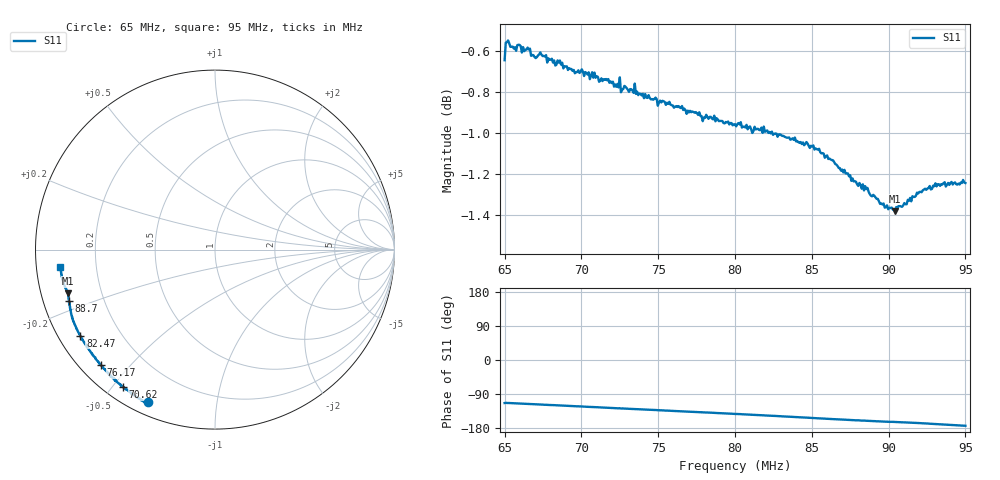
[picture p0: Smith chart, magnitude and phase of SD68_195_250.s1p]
! NanoVNA-App
! Date: 2025-08-09 16:35:09
! Start: 65MHz Stop: 95MHz Points: 401
! S-Parameter data: F S11
# Hz S RI R 50
!  Frequency  S11_Real  S11_Imag
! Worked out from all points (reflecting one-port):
!   401 points, 65 MHz to 95 MHz, reference 50 ohm
!   lowest |S11| = -1.4 dB at 90.42 MHz (marker M1), VSWR 12.63, Z = 4.04 - j7.23 ohm
!   phase of S11 starts at -114 deg and turns -60 deg over the sweep
!   S11 on the Smith chart (normalised r, x): 65 MHz: 0.05, -0.65; 70.62 MHz: 0.05, -0.53; 76.17 MHz: 0.06, -0.42; 82.47 MHz: 0.06, -0.29; 88.7 MHz: 0.08, -0.17; 95 MHz: 0.07, -0.06
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6.5e7  -0.371 -0.851
6.5225e7  -0.3724 -0.8617
6.65e7  -0.4094 -0.8406
6.695e7  -0.4182 -0.8308
6.7325e7  -0.4296 -0.8276
6.875e7  -0.4668 -0.801
7.0625e7  -0.5133 -0.7641
7.25e7  -0.557 -0.7317
7.3325e7  -0.5761 -0.708
7.6175e7  -0.6372 -0.6424
7.625e7  -0.6378 -0.6412
7.85e7  -0.6813 -0.5858
8e7  -0.7097 -0.5465
8.0225e7  -0.713 -0.5432
8.2475e7  -0.7503 -0.4795
8.375e7  -0.7712 -0.4416
8.51e7  -0.7895 -0.4002
8.5625e7  -0.7937 -0.3828
8.675e7  -0.8036 -0.3439
8.75e7  -0.808 -0.3239
8.87e7  -0.8135 -0.2866
8.9675e7  -0.817 -0.2583
9.0425e7  -0.8179 -0.2433
9.125e7  -0.8291 -0.223
9.2375e7  -0.8434 -0.1876
9.3125e7  -0.8498 -0.1619
9.485e7  -0.8623 -0.101
9.5e7  -0.8613 -0.0968
